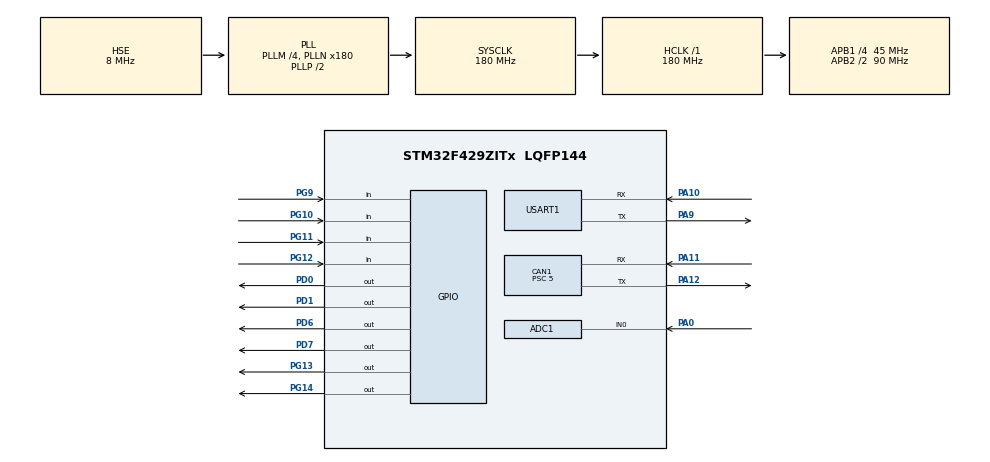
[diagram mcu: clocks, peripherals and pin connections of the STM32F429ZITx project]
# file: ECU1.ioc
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ADC1.Channel-1\#ChannelRegularConversion=ADC_CHANNEL_0
ADC1.NbrOfConversionFlag=1
ADC1.Rank-1\#ChannelRegularConversion=1
ADC1.SamplingTime-1\#ChannelRegularConversion=ADC_SAMPLETIME_3CYCLES
ADC1.master=1
CAN1.BS1=CAN_BS1_9TQ
CAN1.BS2=CAN_BS2_8TQ
CAN1.CalculateBaudRate=500000
CAN1.CalculateTimeBit=2000
CAN1.CalculateTimeQuantum=111.11111111111111
CAN1.NART=ENABLE
CAN1.Prescaler=5
Mcu.Family=STM32F4
Mcu.Name=STM32F429ZITx
Mcu.Package=LQFP144
NVIC.ADC_IRQn=true\:0\:0\:false\:false\:true\:true\:true\:true
NVIC.PriorityGroup=NVIC_PRIORITYGROUP_4
NVIC.TIM4_IRQn=true\:0\:0\:false\:false\:true\:true\:true\:true
PA0/WKUP.Signal=ADCx_IN0
PA10.Mode=Asynchronous
PA10.Signal=USART1_RX
PA11.Mode=CAN_Activate
PA11.Signal=CAN1_RX
PA12.Mode=CAN_Activate
PA12.Signal=CAN1_TX
PA9.Mode=Asynchronous
PA9.Signal=USART1_TX
PD0.Signal=GPIO_Output
PD1.Signal=GPIO_Output
PD6.Signal=GPIO_Output
PD7.Signal=GPIO_Output
PG10.Signal=GPIO_Input
PG11.Signal=GPIO_Input
PG12.Signal=GPIO_Input
PG13.Signal=GPIO_Output
PG14.Signal=GPIO_Output
PG9.Signal=GPIO_Input
PH0/OSC_IN.Mode=HSE-External-Oscillator
PH0/OSC_IN.Signal=RCC_OSC_IN
PH1/OSC_OUT.Mode=HSE-External-Oscillator
PH1/OSC_OUT.Signal=RCC_OSC_OUT
ProjectManager.HeapSize=0x200
ProjectManager.StackSize=0x400
ProjectManager.TargetToolchain=STM32CubeIDE
RCC.48MHZClocksFreq_Value=90000000
RCC.AHBFreq_Value=180000000
RCC.APB1CLKDivider=RCC_HCLK_DIV4
RCC.APB1Freq_Value=45000000
RCC.APB1TimFreq_Value=90000000
RCC.APB2CLKDivider=RCC_HCLK_DIV2
RCC.APB2Freq_Value=90000000
RCC.APB2TimFreq_Value=180000000
RCC.CortexFreq_Value=180000000
RCC.HCLKFreq_Value=180000000
RCC.HSE_VALUE=8000000
RCC.HSI_VALUE=16000000
RCC.LSE_VALUE=32768
RCC.PLLM=4
RCC.PLLN=180
RCC.PLLSourceVirtual=RCC_PLLSOURCE_HSE
RCC.SYSCLKFreq_VALUE=180000000
RCC.SYSCLKSource=RCC_SYSCLKSOURCE_PLLCLK
RCC.VCOOutputFreq_Value=360000000
SH.ADCx_IN0.0=ADC1_IN0,IN0
TIM4.Period=9000-1
TIM4.Prescaler=10000-1
USART1.VirtualMode=VM_ASYNC
VP_TIM4_VS_ClockSourceINT.Mode=Internal
board=custom

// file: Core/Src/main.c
/* USER CODE BEGIN Header */
/**
 ******************************************************************************
 * @file           : main.c
 * @brief          : Main program body
 ******************************************************************************
 * @attention
 *
 * Copyright (c) 2026 STMicroelectronics.
 * All rights reserved.
 *
 * This software is licensed under terms that can be found in the LICENSE file
 * in the root directory of this software component.
 * If no LICENSE file comes with this software, it is provided AS-IS.
 *
 ******************************************************************************
 */
/* USER CODE END Header */
#include "main.h"

/* USER CODE BEGIN Includes */
#include<stdio.h>
#include<string.h>
#include "dht11.h"

#define speed_id 0x100
#define ind_id 0x200
#define temp_id 0x300
/* USER CODE END Includes */

ADC_HandleTypeDef hadc1;

CAN_HandleTypeDef hcan1;

TIM_HandleTypeDef htim4;

UART_HandleTypeDef huart1;

/* USER CODE BEGIN PV */
char buf[30];
uint8_t ADC_Value;
DHT11_Data_t data;
uint8_t tim_flag;
/* USER CODE END PV */

void SystemClock_Config(void);
static void MX_GPIO_Init(void);
static void MX_ADC1_Init(void);
static void MX_USART1_UART_Init(void);
static void MX_CAN1_Init(void);
static void MX_TIM4_Init(void);

/* USER CODE BEGIN 0 */
uint8_t ind_can[1];
CAN_TxHeaderTypeDef TxHeader;
uint32_t TxMailbox;
uint8_t Tx_Data[8];

void can_transmitter(uint16_t id, uint8_t *data, uint8_t size) {
	TxHeader.StdId = id;
	TxHeader.IDE = CAN_ID_STD;
	TxHeader.RTR = CAN_RTR_DATA;
	TxHeader.DLC = size;
	for (int i = 0; i < size; i++) {
		Tx_Data[i] = data[i];
	}

	if (HAL_CAN_AddTxMessage(&hcan1, &TxHeader, data, &TxMailbox) == HAL_OK)
		HAL_GPIO_WritePin(GPIOG, GPIO_PIN_14, 0);
	else
		HAL_GPIO_WritePin(GPIOG, GPIO_PIN_14, 1);
}

#define STATE  1
unsigned char read_digital_keypad(unsigned char detection_type) {
	static uint8_t pin1 = 1, pin2 = 1, pin3 = 1, once1 = 1, once2 = 1,
			once3 = 1;
	pin1 = HAL_GPIO_ReadPin(GPIOG, GPIO_PIN_9);
	pin2 = HAL_GPIO_ReadPin(GPIOG, GPIO_PIN_10);
	pin3 = HAL_GPIO_ReadPin(GPIOG, GPIO_PIN_11);
//	if(detection_type == LEVEL)
//	{
//		if (pin1 == 0)
//			return 1;
//		else if (pin2 == 0)
//			return 2;
//		else if (pin3 == 0)
//			return 3;
//		else
//			return 0;
//	}
	if (detection_type == STATE) {
		if (pin1 == 0 && once1) {
			once1 = 0;
			return 1;
		} else if (pin1 == 1)
			once1 = 1;
		if (pin2 == 0 && once2) {
			once2 = 0;
			return 2;
		} else if (pin2 == 1)
			once2 = 1;
		if (pin3 == 0 && once3) {
			once3 = 0;
			return 3;
		} else if (pin3 == 1)
			once3 = 1;

	}
	return 0;
}

/* USER
/* USER CODE END 0 */

int main(void)
{

  /* MCU Configuration--------------------------------------------------------*/

  /* Reset of all peripherals, Initializes the Flash interface and the Systick. */
  HAL_Init();

  /* Configure the system clock */
  SystemClock_Config();

  /* Initialize all configured peripherals */
  MX_GPIO_Init();
  MX_ADC1_Init();
  MX_USART1_UART_Init();
  MX_CAN1_Init();
  MX_TIM4_Init();

  /* Infinite loop */
  /* USER CODE BEGIN WHILE */
	uint8_t key = 0;
	uint8_t flag = 0;
	unsigned long delay = 0;
	DWT_Delay_Init();

	HAL_CAN_Start(&hcan1);
	HAL_ADC_Start_IT(&hadc1);
	HAL_TIM_Base_Start_IT(&htim4);

	while (1) {
		key = read_digital_keypad(STATE);
		if (key == 1) {
			if (flag == 1) {
				flag = 0;
			} else
				flag = 1;
		}
		if (key == 2) {
			if (flag == 2) {
				flag = 0;
			} else
				flag = 2;
		}
		if (key == 3) {
			flag = 0;
		}
		if (flag == 1) {
			if (delay++ == 1000) {
				delay = 0;
				HAL_GPIO_TogglePin(GPIOD, GPIO_PIN_6);
				HAL_GPIO_WritePin(GPIOD, GPIO_PIN_7, 0);
			}
			ind_can[0] = 'R';
			sprintf(buf, "Right Indicator\r\n");

		} else if (flag == 2) {
			if (delay++ == 1000) {
				delay = 0;
				HAL_GPIO_TogglePin(GPIOD, GPIO_PIN_7);
				HAL_GPIO_WritePin(GPIOD, GPIO_PIN_6, 0);
			}
			ind_can[0] = 'L';
			sprintf(buf, "Left Indicator\r\n");
			//HAL_UART_Transmit(&huart1, buf, strlen(buf), HAL_MAX_DELAY);
		}
		if (flag == 0) {
			HAL_GPIO_WritePin(GPIOD, GPIO_PIN_6, 0);
			HAL_GPIO_WritePin(GPIOD, GPIO_PIN_7, 0);
			ind_can[0] = 'N';
			sprintf(buf, "No Indicator\r\n");
			//	HAL_UART_Transmit(&huart1, buf, strlen(buf), HAL_MAX_DELAY);
		}
		HAL_UART_Transmit(&huart1, buf, strlen(buf), HAL_MAX_DELAY);

		sprintf(buf, "Temp-> %lu\r\n", data.temperature);
		HAL_UART_Transmit(&huart1, buf, strlen(buf), HAL_MAX_DELAY);

		sprintf(buf, "Speed-> %lu\r\n", ADC_Value);
		HAL_UART_Transmit(&huart1, buf, strlen(buf), HAL_MAX_DELAY);

		if (tim_flag) {
			tim_flag = 0;
			HAL_GPIO_TogglePin(GPIOG, GPIO_PIN_13);
			can_transmitter(ind_id, &ind_can[0], 1);
			can_transmitter(speed_id, (uint8_t*) &ADC_Value, 1);
			can_transmitter(temp_id, &data.temperature, 1);
		}

    /* USER CODE END WHILE */

	}
}

void SystemClock_Config(void)
{
  RCC_OscInitTypeDef RCC_OscInitStruct = {0};
  RCC_ClkInitTypeDef RCC_ClkInitStruct = {0};

  /** Configure the main internal regulator output voltage
  */
  __HAL_RCC_PWR_CLK_ENABLE();
  __HAL_PWR_VOLTAGESCALING_CONFIG(PWR_REGULATOR_VOLTAGE_SCALE1);

  /** Initializes the RCC Oscillators according to the specified parameters
  * in the RCC_OscInitTypeDef structure.
  */
  RCC_OscInitStruct.OscillatorType = RCC_OSCILLATORTYPE_HSE;
  RCC_OscInitStruct.HSEState = RCC_HSE_ON;
  RCC_OscInitStruct.PLL.PLLState = RCC_PLL_ON;
  RCC_OscInitStruct.PLL.PLLSource = RCC_PLLSOURCE_HSE;
  RCC_OscInitStruct.PLL.PLLM = 4;
  RCC_OscInitStruct.PLL.PLLN = 180;
  RCC_OscInitStruct.PLL.PLLP = RCC_PLLP_DIV2;
  RCC_OscInitStruct.PLL.PLLQ = 4;
  if (HAL_RCC_OscConfig(&RCC_OscInitStruct) != HAL_OK)
  {
    Error_Handler();
  }

  /** Activate the Over-Drive mode
  */
  if (HAL_PWREx_EnableOverDrive() != HAL_OK)
  {
    Error_Handler();
  }

  /** Initializes the CPU, AHB and APB buses clocks
  */
  RCC_ClkInitStruct.ClockType = RCC_CLOCKTYPE_HCLK|RCC_CLOCKTYPE_SYSCLK
                              |RCC_CLOCKTYPE_PCLK1|RCC_CLOCKTYPE_PCLK2;
  RCC_ClkInitStruct.SYSCLKSource = RCC_SYSCLKSOURCE_PLLCLK;
  RCC_ClkInitStruct.AHBCLKDivider = RCC_SYSCLK_DIV1;
  RCC_ClkInitStruct.APB1CLKDivider = RCC_HCLK_DIV4;
  RCC_ClkInitStruct.APB2CLKDivider = RCC_HCLK_DIV2;

  if (HAL_RCC_ClockConfig(&RCC_ClkInitStruct, FLASH_LATENCY_5) != HAL_OK)
  {
    Error_Handler();
  }
}

static void MX_ADC1_Init(void)
{

  ADC_ChannelConfTypeDef sConfig = {0};

  /** Configure the global features of the ADC (Clock, Resolution, Data Alignment and number of conversion)
  */
  hadc1.Instance = ADC1;
  hadc1.Init.ClockPrescaler = ADC_CLOCK_SYNC_PCLK_DIV4;
  hadc1.Init.Resolution = ADC_RESOLUTION_12B;
  hadc1.Init.ScanConvMode = DISABLE;
  hadc1.Init.ContinuousConvMode = DISABLE;
  hadc1.Init.DiscontinuousConvMode = DISABLE;
  hadc1.Init.ExternalTrigConvEdge = ADC_EXTERNALTRIGCONVEDGE_NONE;
  hadc1.Init.ExternalTrigConv = ADC_SOFTWARE_START;
  hadc1.Init.DataAlign = ADC_DATAALIGN_RIGHT;
  hadc1.Init.NbrOfConversion = 1;
  hadc1.Init.DMAContinuousRequests = DISABLE;
  hadc1.Init.EOCSelection = ADC_EOC_SINGLE_CONV;
  if (HAL_ADC_Init(&hadc1) != HAL_OK)
  {
    Error_Handler();
  }

  /** Configure for the selected ADC regular channel its corresponding rank in the sequencer and its sample time.
  */
  sConfig.Channel = ADC_CHANNEL_0;
  sConfig.Rank = 1;
  sConfig.SamplingTime = ADC_SAMPLETIME_3CYCLES;
  if (HAL_ADC_ConfigChannel(&hadc1, &sConfig) != HAL_OK)
  {
    Error_Handler();
  }

}

static void MX_CAN1_Init(void)
{

  hcan1.Instance = CAN1;
  hcan1.Init.Prescaler = 5;
  hcan1.Init.Mode = CAN_MODE_NORMAL;
  hcan1.Init.SyncJumpWidth = CAN_SJW_1TQ;
  hcan1.Init.TimeSeg1 = CAN_BS1_9TQ;
  hcan1.Init.TimeSeg2 = CAN_BS2_8TQ;
  hcan1.Init.TimeTriggeredMode = DISABLE;
  hcan1.Init.AutoBusOff = DISABLE;
  hcan1.Init.AutoWakeUp = DISABLE;
  hcan1.Init.AutoRetransmission = ENABLE;
  hcan1.Init.ReceiveFifoLocked = DISABLE;
  hcan1.Init.TransmitFifoPriority = DISABLE;
  if (HAL_CAN_Init(&hcan1) != HAL_OK)
  {
    Error_Handler();
  }
  /* USER CODE BEGIN CAN1_Init 2 */
	CAN_FilterTypeDef sFilterConfig;

	sFilterConfig.FilterActivation = ENABLE;
	sFilterConfig.FilterBank = 0;
	sFilterConfig.FilterFIFOAssignment = CAN_FILTER_FIFO0;

	// For a 32-bit filter to accept StdId 0x103:
	// The StdId occupies bits [31:21] of the 32-bit register.
	sFilterConfig.FilterIdHigh = 0x0000;
	sFilterConfig.FilterIdLow = 0x0000;

	// To accept ONLY 0x103, set mask to all 1s in those positions (0x7FF << 5)
	// To accept EVERYTHING for testing, set mask to 0
	sFilterConfig.FilterMaskIdHigh = 0x0000;
	sFilterConfig.FilterMaskIdLow = 0x0000;

	sFilterConfig.FilterMode = CAN_FILTERMODE_IDMASK;
	sFilterConfig.FilterScale = CAN_FILTERSCALE_32BIT;
	sFilterConfig.SlaveStartFilterBank = 14;

	if (HAL_CAN_ConfigFilter(&hcan1, &sFilterConfig) != HAL_OK) {
		Error_Handler();
	}
  /* USER CODE END CAN1_Init 2 */

}

static void MX_TIM4_Init(void)
{

  TIM_ClockConfigTypeDef sClockSourceConfig = {0};
  TIM_MasterConfigTypeDef sMasterConfig = {0};

  htim4.Instance = TIM4;
  htim4.Init.Prescaler = 10000-1;
  htim4.Init.CounterMode = TIM_COUNTERMODE_UP;
  htim4.Init.Period = 9000-1;
  htim4.Init.ClockDivision = TIM_CLOCKDIVISION_DIV1;
  htim4.Init.AutoReloadPreload = TIM_AUTORELOAD_PRELOAD_DISABLE;
  if (HAL_TIM_Base_Init(&htim4) != HAL_OK)
  {
    Error_Handler();
  }
  sClockSourceConfig.ClockSource = TIM_CLOCKSOURCE_INTERNAL;
  if (HAL_TIM_ConfigClockSource(&htim4, &sClockSourceConfig) != HAL_OK)
  {
    Error_Handler();
  }
  sMasterConfig.MasterOutputTrigger = TIM_TRGO_RESET;
  sMasterConfig.MasterSlaveMode = TIM_MASTERSLAVEMODE_DISABLE;
  if (HAL_TIMEx_MasterConfigSynchronization(&htim4, &sMasterConfig) != HAL_OK)
  {
    Error_Handler();
  }

}

static void MX_USART1_UART_Init(void)
{

  huart1.Instance = USART1;
  huart1.Init.BaudRate = 115200;
  huart1.Init.WordLength = UART_WORDLENGTH_8B;
  huart1.Init.StopBits = UART_STOPBITS_1;
  huart1.Init.Parity = UART_PARITY_NONE;
  huart1.Init.Mode = UART_MODE_TX_RX;
  huart1.Init.HwFlowCtl = UART_HWCONTROL_NONE;
  huart1.Init.OverSampling = UART_OVERSAMPLING_16;
  if (HAL_UART_Init(&huart1) != HAL_OK)
  {
    Error_Handler();
  }

}

static void MX_GPIO_Init(void)
{
  GPIO_InitTypeDef GPIO_InitStruct = {0};

  /* GPIO Ports Clock Enable */
  __HAL_RCC_GPIOH_CLK_ENABLE();
  __HAL_RCC_GPIOA_CLK_ENABLE();
  __HAL_RCC_GPIOD_CLK_ENABLE();
  __HAL_RCC_GPIOG_CLK_ENABLE();

  /*Configure GPIO pin Output Level */
  HAL_GPIO_WritePin(GPIOD, GPIO_PIN_0|GPIO_PIN_1|GPIO_PIN_6|GPIO_PIN_7, GPIO_PIN_RESET);

  /*Configure GPIO pin Output Level */
  HAL_GPIO_WritePin(GPIOG, GPIO_PIN_13|GPIO_PIN_14, GPIO_PIN_RESET);

  /*Configure GPIO pins : PD0 PD1 PD6 PD7 */
  GPIO_InitStruct.Pin = GPIO_PIN_0|GPIO_PIN_1|GPIO_PIN_6|GPIO_PIN_7;
  GPIO_InitStruct.Mode = GPIO_MODE_OUTPUT_PP;
  GPIO_InitStruct.Pull = GPIO_NOPULL;
  GPIO_InitStruct.Speed = GPIO_SPEED_FREQ_LOW;
  HAL_GPIO_Init(GPIOD, &GPIO_InitStruct);

  /*Configure GPIO pins : PG9 PG10 PG11 PG12 */
  GPIO_InitStruct.Pin = GPIO_PIN_9|GPIO_PIN_10|GPIO_PIN_11|GPIO_PIN_12;
  GPIO_InitStruct.Mode = GPIO_MODE_INPUT;
  GPIO_InitStruct.Pull = GPIO_NOPULL;
  HAL_GPIO_Init(GPIOG, &GPIO_InitStruct);

  /*Configure GPIO pins : PG13 PG14 */
  GPIO_InitStruct.Pin = GPIO_PIN_13|GPIO_PIN_14;
  GPIO_InitStruct.Mode = GPIO_MODE_OUTPUT_PP;
  GPIO_InitStruct.Pull = GPIO_NOPULL;
  GPIO_InitStruct.Speed = GPIO_SPEED_FREQ_LOW;
  HAL_GPIO_Init(GPIOG, &GPIO_InitStruct);

}

void Error_Handler(void)
{
	__disable_irq();
	while (1) {
	}
}
